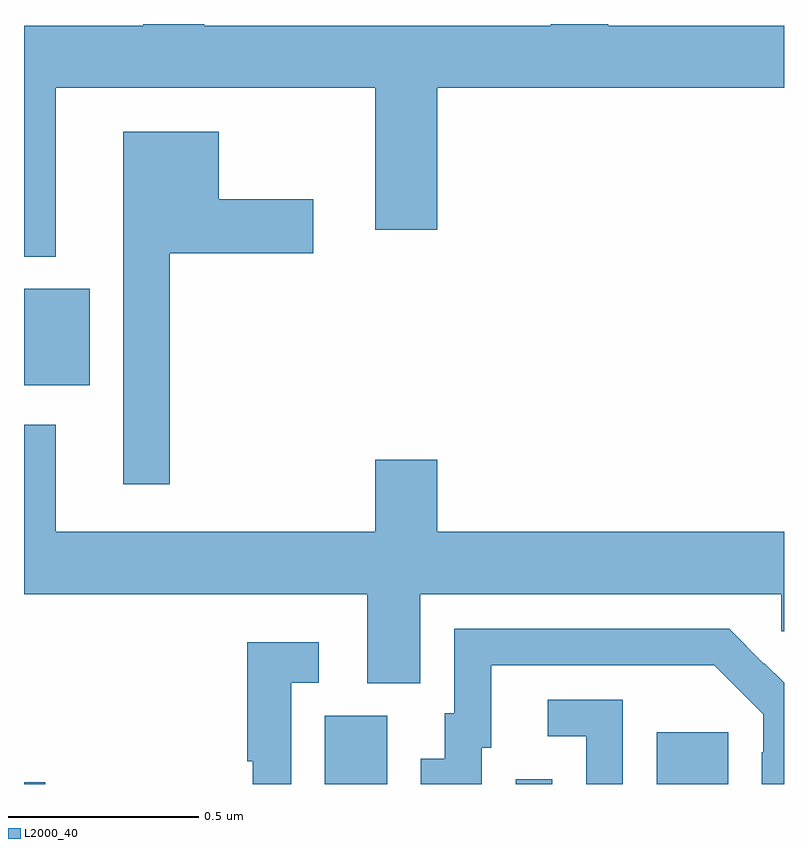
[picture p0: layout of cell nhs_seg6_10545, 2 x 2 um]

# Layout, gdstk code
import gdstk
lib = gdstk.Library(unit=1e-6, precision=1e-09)
def R(c, l, rs):  # rectangles x0, y0, x1, y1
    for r in rs: c.add(gdstk.rectangle(r[:2], r[2:], *l))
def P(c, l, *ps):  # polygons
    for p in ps: c.add(gdstk.Polygon(p, *l))
L2000_40 = (2000, 40)

nhs_seg6_10545 = lib.new_cell('nhs_seg6_10545')
R(nhs_seg6_10545, L2000_40, [(248,949.5,248.056,949.505), (248.792,949.5,248.956,949.68), (249.294,949.5,249.39,949.513), (249.665,949.5,249.853,949.636), (248,950.549,248.173,950.803)])
P(nhs_seg6_10545, L2000_40, [(248.083,951.332),(248.924,951.332),(248.924,950.958),(249.088,950.958),(249.088,951.332),(250,951.332),(250,951.496),(249.538,951.496),(249.538,951.5),(249.386,951.5),(249.386,951.496),(248.474,951.496),(248.474,951.5),(248.314,951.5),(248.314,951.496),(248,951.496),(248,950.888),(248.083,950.888)],
  [(248.383,950.897),(248.761,950.897),(248.761,951.039),(248.512,951.039),(248.512,951.217),(248.261,951.217),(248.261,950.289),(248.383,950.289)],
  [(249.043,950),(249.993,950),(249.993,949.902),(250,949.902),(250,950.164),(249.088,950.164),(249.088,950.353),(248.924,950.353),(248.924,950.164),(248.083,950.164),(248.083,950.446),(248,950.446),(248,950),(248.903,950),(248.903,949.765),(249.043,949.765)],
  [(249.205,949.596),(249.229,949.596),(249.229,949.812),(249.817,949.812),(249.945,949.683),(249.945,949.583),(249.942,949.583),(249.942,949.5),(250,949.5),(250,949.766),(249.948,949.818),(249.947,949.817),(249.856,949.908),(249.132,949.908),(249.132,949.686),(249.107,949.686),(249.107,949.567),(249.044,949.567),(249.044,949.5),(249.205,949.5)],
  [(248.703,949.767),(248.776,949.767),(248.776,949.873),(248.587,949.873),(248.587,949.56),(248.602,949.56),(248.602,949.5),(248.703,949.5)],
  [(249.576,949.722),(249.378,949.722),(249.378,949.626),(249.48,949.626),(249.48,949.5),(249.576,949.5)])

lib.write_gds('nhs_seg6_10545.gds')
